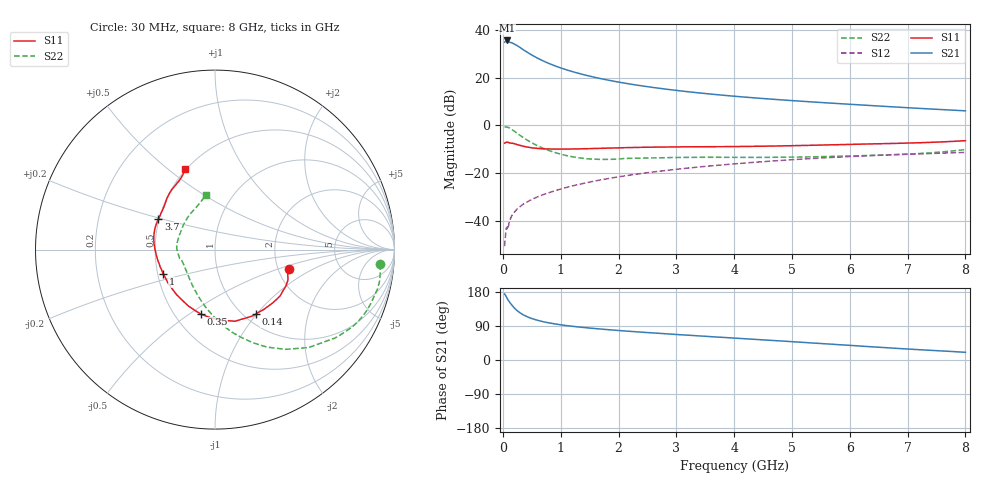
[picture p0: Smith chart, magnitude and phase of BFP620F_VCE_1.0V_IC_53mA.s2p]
! Infineon Technologies  Discrete & RF Semiconductors
! BFP620F
! VCE =  1.0 V,  IC =  53 mA
! Common Emitter S-Parameters:  Dec 2014
# GHz  S  MA  R  50
!  f  S11  S21  S12  S22
! GHz  MAG  ANG  MAG  ANG  MAG  ANG  MAG  ANG
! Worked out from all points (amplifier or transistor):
!   95 points, 30 MHz to 8 GHz, reference 50 ohm
!   highest |S21| = 35.8 dB at 70 MHz (marker M1)
!   |S21| within 3 dB of that: start of sweep to 300.3 MHz
!   unconditionally stable (mu >= 1): 1.81 GHz to end of sweep
!   at 300 MHz: K = 0.51, MSG = 33.4 dB, |S12| = -34.1 dB
!   at 3.3 GHz: K = 1.03, MAG = 14.7 dB, |S12| = -17.7 dB
!   at 8 GHz: K = 1.05, MAG = 7.3 dB, |S12| = -11.3 dB
!   S11 on the Smith chart (normalised r, x): 30 MHz: 2.28, -0.61; 140 MHz: 1.12, -0.99; 350 MHz: 0.67, -0.55; 1 GHz: 0.53, -0.16; 3.7 GHz: 0.50, +0.19; 8 GHz: 0.49, +0.57
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0.03  0.4256 -14.9  56.4 174.2  0.0029 87.4  0.9249 -5.1
0.05  0.4405 -22.7  59.92 169.4  0.0057 89.6  0.9337 -10.7
0.07  0.4427 -31.0  61.32 163.8  0.0067 80.7  0.924 -16.3
0.09  0.4412 -39.0  59.86 158.5  0.007 82.4  0.9123 -21.6
0.12  0.43 -51.2  56.15 151.8  0.0097 73.9  0.8776 -29.5
0.14  0.4255 -57.9  55.27 147.8  0.0115 74.8  0.8446 -34.3
0.2  0.4146 -74.3  51.35 136.9  0.0151 70.4  0.7549 -46.3
0.25  0.3953 -84.8  47.56 129.8  0.0177 68.3  0.681 -54.7
0.3  0.3803 -93.9  43.44 124.1  0.0198 66.1  0.616 -61.9
0.35  0.3676 -102.5  39.29 119.4  0.0221 65.8  0.559 -68.0
0.45  0.3474 -115.3  32.99 112.3  0.0259 65.2  0.4694 -78.4
0.6  0.3298 -130.7  26 104.7  0.0316 65.0  0.3745 -90.9
0.8  0.321 -144.9  20.06 97.9  0.0387 65.6  0.2967 -104.8
1  0.3192 -155.1  16.24 92.9  0.046 66.2  0.2494 -117.2
1.4  0.3245 -169.4  11.68 85.7  0.0608 65.7  0.2027 -139.9
1.9  0.3356 178.5  8.61 79.1  0.0795 64.1  0.1946 -161.4
2.7  0.3515 164.8  6.065 70.4  0.1089 59.8  0.2091 -177.2
3.7  0.3586 151.6  4.452 60.6  0.145 53.6  0.2143 171.1
4.1  0.3614 147.0  4.03 56.9  0.1592 50.7  0.2132 166.1
5.4  0.3851 135.0  3.099 44.4  0.2036 41.0  0.2199 145.7
6.7  0.4178 122.9  2.482 31.8  0.2405 30.5  0.2427 124.2
8  0.4786 110.4  2.033 20.3  0.271 20.4  0.3109 99.3
